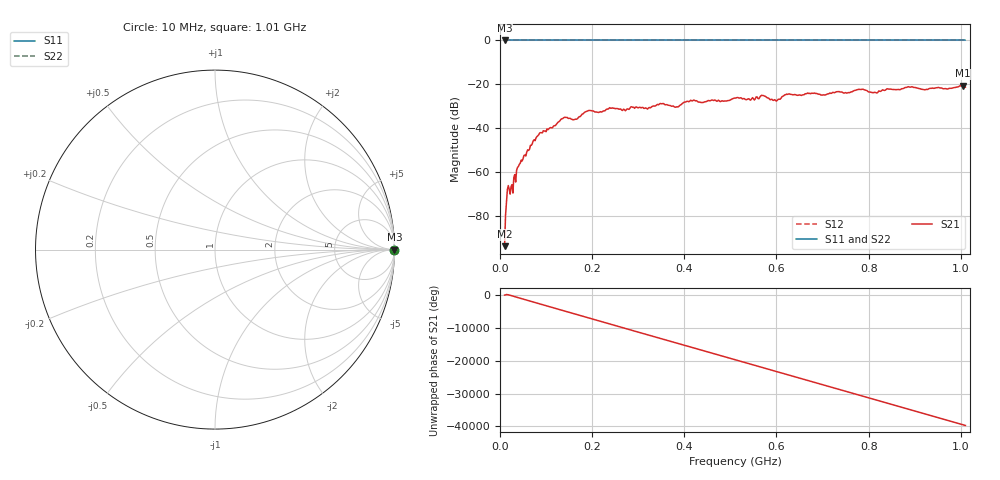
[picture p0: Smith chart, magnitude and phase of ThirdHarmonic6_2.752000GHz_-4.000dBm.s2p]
! 8/17/2025 6:53:25 AM
! C:\ANRITSUVNA\TEMP\TEMP.S2P
! CHANNEL.1
! TR.MEASUREMENT
! RAW.DATA
! RF.CORRECTION.OFF
! AVERAGING.OFF
! IF.BANDWIDTH: 5KHZ
! SWEEPTYPE:  FREQ.SWEEP(Linear)
! Reference Plane Port Info
! PORT:  PORT1  PORT2
! DISTANCE:  0  m  0  m
! TIME:  0  s  0  s
! PHASE.OFFSET:  0  deg.  0  deg.
! LOSS:  0  dB  0  dB
! REF.LOSS:  0  dB  0  dB
! REF.FREQ:  0  Hz  0  Hz
! Power Info
! POWER:  -20  dBm  -20  dBm
! EFF.POWER:  -20  dBm  -20  dBm
! SOURCE.ATTEN:  0  dB  0  dB
! TEST.ATTEN:  0  dB  0  dB
# GHZ S RI R 50.0
! FREQ.GHZ  S11RE  S11IM  S21RE  S21IM  S12RE  S12IM  S22RE  S22IM
!; PortSelection: Port_12
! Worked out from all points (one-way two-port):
!   501 points, 10 MHz to 1.01 GHz, reference 50 ohm
!   highest |S21| = -20.65 dB at 1.004 GHz (marker M1); lowest = -93.7 dB at 10 MHz (marker M2)
!   lowest |S11| = 0.0 dB at 10 MHz (marker M3)
!   |S11| at or under -10 dB: nowhere
!   |S22| runs from 0.0 to 0.0 dB; largest |S21 - S12| = 1.1
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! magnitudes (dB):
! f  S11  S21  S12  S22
! 10 MHz  0.0  -93.7  0.0  0.0
! 18 MHz  0.0  -66.1  0.0  0.0
! 24 MHz  0.0  -66.5  0.0  0.0
! 40 MHz  0.0  -57.4  0.0  0.0
! 82 MHz  0.0  -43.4  0.0  0.0
! 136 MHz  0.0  -35.6  0.0  0.0
! 162 MHz  0.0  -36.0  0.0  0.0
! 178 MHz  0.0  -33.6  0.0  0.0
! 194 MHz  0.0  -31.9  0.0  0.0
! 322 MHz  0.0  -30.8  0.0  0.0
! 344 MHz  0.0  -29.3  0.0  0.0
! 384 MHz  0.0  -30.2  0.0  0.0
! 416 MHz  0.0  -27.5  0.0  0.0
! 510 MHz  0.0  -26.2  0.0  0.0
! 570 MHz  0.0  -25.0  0.0  0.0
! 598 MHz  0.0  -27.3  0.0  0.0
! 624 MHz  0.0  -24.6  0.0  0.0
! 678 MHz  0.0  -24.0  0.0  0.0
! 816 MHz  0.0  -23.8  0.0  0.0
! 844 MHz  0.0  -22.2  0.0  0.0
! 1.004 GHz  0.0  -20.7  0.0  0.0
! 1.01 GHz  0.0  -21.3  0.0  0.0
